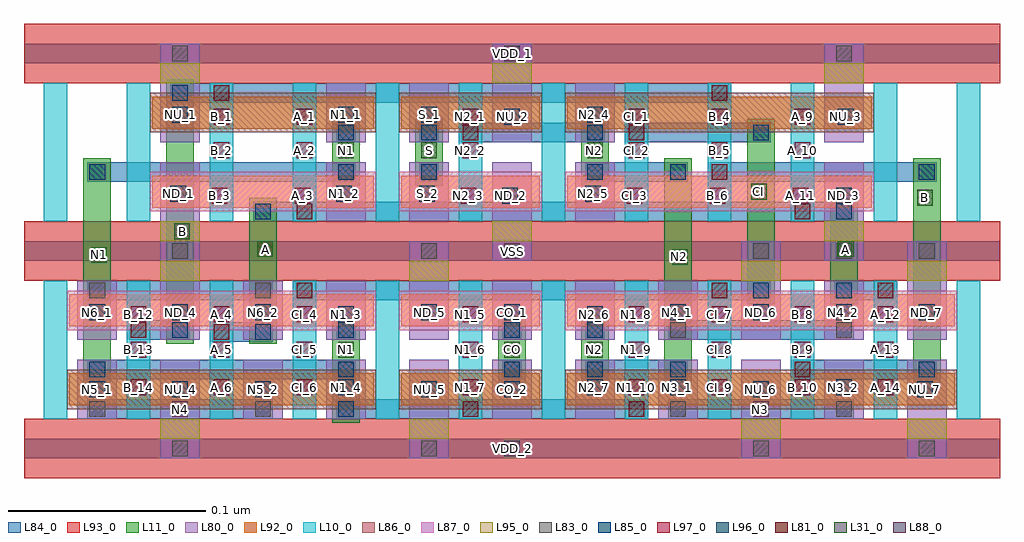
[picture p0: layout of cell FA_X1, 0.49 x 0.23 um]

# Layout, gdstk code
import gdstk
lib = gdstk.Library(unit=1e-6, precision=1e-09)
def R(c, l, rs):  # rectangles x0, y0, x1, y1
    for r in rs: c.add(gdstk.rectangle(r[:2], r[2:], *l))
def A(c, l, x, y, w, h, nx, ny, dx, dy):  # array of equal rectangles
    R(c, l, [(x+i*dx, y+j*dy, x+i*dx+w, y+j*dy+h) for i in range(nx) for j in range(ny)])
L10_0 = (10, 0)
L11_0 = (11, 0)
L31_0 = (31, 0)
L80_0 = (80, 0)
L81_0 = (81, 0)
L83_0 = (83, 0)
L84_0 = (84, 0)
L85_0 = (85, 0)
L86_0 = (86, 0)
L87_0 = (87, 0)
L88_0 = (88, 0)
L92_0 = (92, 0)
L93_0 = (93, 0)
L95_0 = (95, 0)
L96_0 = (96, 0)
L97_0 = (97, 0)

fa_x1 = lib.new_cell('FA_X1')
A(fa_x1, L10_0, -0.027, -0.085, 0.012, 0.07, 5, 1, 0.042, 0)
A(fa_x1, L10_0, 0.141, -0.085, 0.012, 0.07, 8, 1, 0.042, 0)
A(fa_x1, L10_0, -0.027, 0.015, 0.012, 0.07, 12, 1, 0.042, 0)
R(fa_x1, L11_0, [(0.119,-0.087,0.133,-0.053), (0.119,-0.087,0.133,-0.053), (-0.007,-0.067,0.007,-0.033), (-0.007,-0.067,0.007,-0.033), (0.119,-0.067,0.133,-0.033), (0.119,-0.067,0.133,-0.033), (0.203,-0.067,0.217,-0.033), (0.203,-0.067,0.217,-0.033), (0.245,-0.067,0.259,-0.033), (0.245,-0.067,0.259,-0.033), (0.287,-0.067,0.301,-0.033), (0.287,-0.067,0.301,-0.033), (0.413,-0.067,0.427,-0.033), (0.413,-0.067,0.427,-0.033), (-0.007,-0.047,0.007,-0.013), (-0.007,-0.047,0.007,-0.013), (0.035,-0.047,0.049,-0.013), (0.035,-0.047,0.049,-0.013), (0.077,-0.047,0.091,-0.013), (0.287,-0.047,0.301,-0.013), (0.287,-0.047,0.301,-0.013), (0.413,-0.047,0.427,-0.013), (0.413,-0.047,0.427,-0.013), (-0.007,-0.027,0.007,0.007), (-0.007,-0.027,0.007,0.007), (0.035,-0.027,0.049,0.007), (0.035,-0.027,0.049,0.007), (0.077,-0.027,0.091,0.007), (0.077,-0.027,0.091,0.007), (0.287,-0.027,0.301,0.007), (0.287,-0.027,0.301,0.007), (0.329,-0.027,0.343,0.007), (0.329,-0.027,0.343,0.007), (0.371,-0.027,0.385,0.007), (0.371,-0.027,0.385,0.007), (0.413,-0.027,0.427,0.007), (0.413,-0.027,0.427,0.007), (-0.007,-0.007,0.007,0.027), (-0.007,-0.007,0.007,0.027), (0.035,-0.007,0.049,0.027), (0.035,-0.007,0.049,0.027), (0.077,-0.007,0.091,0.027), (0.077,-0.007,0.091,0.027), (0.287,-0.007,0.301,0.027), (0.287,-0.007,0.301,0.027), (0.329,-0.007,0.343,0.027), (0.329,-0.007,0.343,0.027), (0.371,-0.007,0.385,0.027), (0.371,-0.007,0.385,0.027), (0.413,-0.007,0.427,0.027), (0.413,-0.007,0.427,0.027), (-0.007,0.013,0.007,0.047), (-0.007,0.013,0.007,0.047), (0.035,0.013,0.049,0.047), (0.035,0.013,0.049,0.047), (0.287,0.013,0.301,0.047), (0.287,0.013,0.301,0.047), (0.329,0.013,0.343,0.047), (0.329,0.013,0.343,0.047), (0.413,0.013,0.427,0.047), (0.413,0.013,0.427,0.047), (0.035,0.033,0.049,0.067), (0.035,0.033,0.049,0.067), (0.119,0.033,0.133,0.067), (0.119,0.033,0.133,0.067), (0.161,0.033,0.175,0.067), (0.161,0.033,0.175,0.067), (0.245,0.033,0.259,0.067), (0.245,0.033,0.259,0.067), (0.329,0.033,0.343,0.067), (0.329,0.033,0.343,0.067), (0.035,0.053,0.049,0.087), (0.035,0.053,0.049,0.087)])
R(fa_x1, L31_0, [(0.122,-0.054,0.13,-0.046), (0.206,-0.054,0.214,-0.046), (0.248,-0.054,0.256,-0.046), (0.291,-0.007,0.299,0.001), (-0.003,-0.006,0.005,0.002), (0.081,-0.003,0.089,0.005), (0.375,-0.003,0.383,0.005), (0.039,0.006,0.047,0.014), (0.415,0.023,0.423,0.031), (0.331,0.026,0.339,0.034), (0.122,0.047,0.13,0.055), (0.164,0.047,0.172,0.055), (0.248,0.047,0.256,0.055)])
A(fa_x1, L80_0, -0.01, -0.085, 0.02, 0.03, 11, 2, 0.042, 0.04)
A(fa_x1, L80_0, 0.032, -0.025, 0.02, 0.03, 1, 3, 0, 0.04)
A(fa_x1, L80_0, 0.032, -0.005, 0.02, 0.03, 3, 2, 0.168, 0.08)
A(fa_x1, L80_0, 0.116, 0.015, 0.02, 0.03, 4, 2, 0.042, 0.04)
R(fa_x1, L80_0, [(0.032,-0.105,0.052,-0.075), (0.158,-0.105,0.178,-0.075), (0.326,-0.105,0.346,-0.075), (0.41,-0.105,0.43,-0.075), (0.158,-0.025,0.178,0.005), (0.326,-0.025,0.346,0.005), (0.41,-0.025,0.43,0.005), (0.368,0.015,0.388,0.045), (0.368,0.055,0.388,0.085)])
R(fa_x1, L81_0, [(0.185,-0.084,0.193,-0.076), (0.185,-0.084,0.193,-0.076), (0.269,-0.084,0.277,-0.076), (0.269,-0.084,0.277,-0.076), (0.353,-0.064,0.361,-0.056), (0.059,-0.045,0.067,-0.037), (0.017,-0.044,0.025,-0.036), (0.017,-0.044,0.025,-0.036), (0.101,-0.024,0.109,-0.016), (0.101,-0.024,0.109,-0.016), (0.311,-0.024,0.319,-0.016), (0.395,-0.024,0.403,-0.016), (0.395,-0.024,0.403,-0.016), (0.101,0.016,0.109,0.024), (0.101,0.016,0.109,0.024), (0.353,0.016,0.361,0.024), (0.353,0.016,0.361,0.024), (0.311,0.036,0.319,0.044), (0.311,0.036,0.319,0.044), (0.185,0.056,0.193,0.064), (0.185,0.056,0.193,0.064), (0.269,0.056,0.277,0.064), (0.269,0.056,0.277,0.064), (0.059,0.076,0.067,0.084), (0.059,0.076,0.067,0.084), (0.059,0.076,0.067,0.084), (0.059,0.076,0.067,0.084), (0.311,0.076,0.319,0.084), (0.311,0.076,0.319,0.084)])
A(fa_x1, L83_0, 0.038, 0.096, 0.008, 0.008, 3, 1, 0.168, 0)
R(fa_x1, L83_0, [(0.038,-0.104,0.046,-0.096), (0.164,-0.104,0.172,-0.096), (0.332,-0.104,0.34,-0.096), (0.416,-0.104,0.424,-0.096), (-0.004,-0.084,0.004,-0.076), (-0.004,-0.084,0.004,-0.076), (0.08,-0.084,0.088,-0.076), (0.08,-0.084,0.088,-0.076), (0.122,-0.084,0.13,-0.076), (0.122,-0.084,0.13,-0.076), (0.29,-0.084,0.298,-0.076), (0.29,-0.084,0.298,-0.076), (0.374,-0.084,0.382,-0.076), (0.374,-0.084,0.382,-0.076), (0.122,-0.064,0.13,-0.056), (0.122,-0.064,0.13,-0.056), (0.206,-0.064,0.214,-0.056), (0.206,-0.064,0.214,-0.056), (0.248,-0.064,0.256,-0.056), (0.248,-0.064,0.256,-0.056), (0.122,-0.044,0.13,-0.036), (0.122,-0.044,0.13,-0.036), (0.206,-0.044,0.214,-0.036), (0.206,-0.044,0.214,-0.036), (0.248,-0.044,0.256,-0.036), (0.248,-0.044,0.256,-0.036), (0.29,-0.044,0.298,-0.036), (0.29,-0.044,0.298,-0.036), (0.374,-0.044,0.382,-0.036), (0.374,-0.044,0.382,-0.036), (-0.004,-0.024,0.004,-0.016), (-0.004,-0.024,0.004,-0.016), (0.08,-0.024,0.088,-0.016), (0.08,-0.024,0.088,-0.016), (0.038,-0.004,0.046,0.004), (0.038,-0.004,0.046,0.004), (0.038,-0.004,0.046,0.004), (0.038,-0.004,0.046,0.004), (0.164,-0.004,0.172,0.004), (0.206,-0.004,0.214,0.004), (0.332,-0.004,0.34,0.004), (0.332,-0.004,0.34,0.004), (0.374,-0.004,0.382,0.004), (0.374,-0.004,0.382,0.004), (0.416,-0.004,0.424,0.004), (0.416,-0.004,0.424,0.004), (0.122,0.036,0.13,0.044), (0.122,0.036,0.13,0.044), (0.164,0.036,0.172,0.044), (0.164,0.036,0.172,0.044), (0.248,0.036,0.256,0.044), (0.248,0.036,0.256,0.044), (0.122,0.056,0.13,0.064), (0.122,0.056,0.13,0.064), (0.164,0.056,0.172,0.064), (0.164,0.056,0.172,0.064), (0.248,0.056,0.256,0.064), (0.248,0.056,0.256,0.064)])
A(fa_x1, L84_0, -0.037, -0.105, 0.494, 0.01, 1, 3, 0, 0.1)
A(fa_x1, L84_0, 0.352, -0.085, 0.031, 0.01, 1, 3, 0, 0.02)
R(fa_x1, L84_0, [(-0.005,-0.085,0.026,-0.075), (-0.005,-0.085,0.026,-0.075), (0.016,-0.085,0.047,-0.075), (0.016,-0.085,0.047,-0.075), (0.037,-0.085,0.068,-0.075), (0.037,-0.085,0.068,-0.075), (0.058,-0.085,0.089,-0.075), (0.058,-0.085,0.089,-0.075), (0.121,-0.085,0.152,-0.075), (0.121,-0.085,0.152,-0.075), (0.142,-0.085,0.173,-0.075), (0.142,-0.085,0.173,-0.075), (0.163,-0.085,0.194,-0.075), (0.163,-0.085,0.194,-0.075), (0.184,-0.085,0.215,-0.075), (0.184,-0.085,0.215,-0.075), (0.205,-0.085,0.236,-0.075), (0.205,-0.085,0.236,-0.075), (0.226,-0.085,0.257,-0.075), (0.226,-0.085,0.257,-0.075), (0.247,-0.085,0.278,-0.075), (0.247,-0.085,0.278,-0.075), (0.289,-0.085,0.32,-0.075), (0.289,-0.085,0.32,-0.075), (0.31,-0.085,0.341,-0.075), (0.31,-0.085,0.341,-0.075), (0.331,-0.085,0.362,-0.075), (0.331,-0.085,0.362,-0.075), (0.352,-0.085,0.383,-0.075), (-0.005,-0.065,0.026,-0.055), (-0.005,-0.065,0.026,-0.055), (0.016,-0.065,0.047,-0.055), (0.016,-0.065,0.047,-0.055), (0.037,-0.065,0.068,-0.055), (0.037,-0.065,0.068,-0.055), (0.058,-0.065,0.089,-0.055), (0.058,-0.065,0.089,-0.055), (0.079,-0.065,0.11,-0.055), (0.079,-0.065,0.11,-0.055), (0.1,-0.065,0.131,-0.055), (0.1,-0.065,0.131,-0.055), (0.205,-0.065,0.215,-0.055), (0.205,-0.065,0.215,-0.055), (0.247,-0.065,0.278,-0.055), (0.247,-0.065,0.278,-0.055), (0.268,-0.065,0.299,-0.055), (0.268,-0.065,0.299,-0.055), (0.373,-0.065,0.404,-0.055), (0.373,-0.065,0.404,-0.055), (0.394,-0.065,0.425,-0.055), (0.394,-0.065,0.425,-0.055), (0.058,-0.046,0.089,-0.036), (0.016,-0.045,0.047,-0.035), (0.016,-0.045,0.047,-0.035), (0.121,-0.045,0.131,-0.035), (0.121,-0.045,0.131,-0.035), (0.205,-0.045,0.215,-0.035), (0.205,-0.045,0.215,-0.035), (0.247,-0.045,0.257,-0.035), (0.247,-0.045,0.257,-0.035), (0.289,-0.045,0.32,-0.035), (0.289,-0.045,0.32,-0.035), (0.31,-0.045,0.341,-0.035), (0.31,-0.045,0.341,-0.035), (0.331,-0.045,0.362,-0.035), (0.331,-0.045,0.362,-0.035), (-0.005,-0.025,0.026,-0.015), (-0.005,-0.025,0.026,-0.015), (0.016,-0.025,0.047,-0.015), (0.016,-0.025,0.047,-0.015), (0.037,-0.025,0.068,-0.015), (0.037,-0.025,0.068,-0.015), (0.058,-0.025,0.089,-0.015), (0.058,-0.025,0.089,-0.015), (0.1,-0.025,0.131,-0.015), (0.1,-0.025,0.131,-0.015), (0.121,-0.025,0.152,-0.015), (0.121,-0.025,0.152,-0.015), (0.142,-0.025,0.173,-0.015), (0.142,-0.025,0.173,-0.015), (0.163,-0.025,0.194,-0.015), (0.163,-0.025,0.194,-0.015), (0.184,-0.025,0.215,-0.015), (0.184,-0.025,0.215,-0.015), (0.205,-0.025,0.236,-0.015), (0.205,-0.025,0.236,-0.015), (0.226,-0.025,0.257,-0.015), (0.226,-0.025,0.257,-0.015), (0.247,-0.025,0.278,-0.015), (0.247,-0.025,0.278,-0.015), (0.268,-0.025,0.299,-0.015), (0.268,-0.025,0.299,-0.015), (0.289,-0.025,0.32,-0.015), (0.289,-0.025,0.32,-0.015), (0.31,-0.025,0.341,-0.015), (0.31,-0.025,0.341,-0.015), (0.373,-0.025,0.404,-0.015), (0.373,-0.025,0.404,-0.015), (0.079,0.015,0.11,0.025), (0.079,0.015,0.11,0.025), (0.1,0.015,0.131,0.025), (0.1,0.015,0.131,0.025), (0.121,0.015,0.152,0.025), (0.121,0.015,0.152,0.025), (0.142,0.015,0.173,0.025), (0.142,0.015,0.173,0.025), (0.163,0.015,0.194,0.025), (0.163,0.015,0.194,0.025), (0.184,0.015,0.215,0.025), (0.184,0.015,0.215,0.025), (0.205,0.015,0.236,0.025), (0.205,0.015,0.236,0.025), (0.226,0.015,0.257,0.025), (0.226,0.015,0.257,0.025), (0.247,0.015,0.278,0.025), (0.247,0.015,0.278,0.025), (0.268,0.015,0.299,0.025), (0.268,0.015,0.299,0.025), (0.289,0.015,0.32,0.025), (0.289,0.015,0.32,0.025), (0.31,0.015,0.341,0.025), (0.31,0.015,0.341,0.025), (0.331,0.015,0.362,0.025), (0.331,0.015,0.362,0.025), (0.352,0.015,0.383,0.025), (0.352,0.015,0.383,0.025), (-0.005,0.035,0.026,0.045), (-0.005,0.035,0.026,0.045), (0.016,0.035,0.047,0.045), (0.016,0.035,0.047,0.045), (0.037,0.035,0.068,0.045), (0.037,0.035,0.068,0.045), (0.058,0.035,0.089,0.045), (0.058,0.035,0.089,0.045), (0.079,0.035,0.11,0.045), (0.079,0.035,0.11,0.045), (0.1,0.035,0.131,0.045), (0.1,0.035,0.131,0.045), (0.163,0.035,0.173,0.045), (0.163,0.035,0.173,0.045), (0.247,0.035,0.278,0.045), (0.247,0.035,0.278,0.045), (0.268,0.035,0.299,0.045), (0.268,0.035,0.299,0.045), (0.31,0.035,0.341,0.045), (0.31,0.035,0.341,0.045), (0.331,0.035,0.362,0.045), (0.331,0.035,0.362,0.045), (0.352,0.035,0.383,0.045), (0.352,0.035,0.383,0.045), (0.373,0.035,0.404,0.045), (0.373,0.035,0.404,0.045), (0.394,0.035,0.425,0.045), (0.394,0.035,0.425,0.045), (0.121,0.055,0.131,0.065), (0.121,0.055,0.131,0.065), (0.163,0.055,0.173,0.065), (0.163,0.055,0.173,0.065), (0.184,0.055,0.215,0.065), (0.184,0.055,0.215,0.065), (0.205,0.055,0.236,0.065), (0.205,0.055,0.236,0.065), (0.226,0.055,0.257,0.065), (0.226,0.055,0.257,0.065), (0.268,0.055,0.299,0.065), (0.268,0.055,0.299,0.065), (0.289,0.055,0.32,0.065), (0.289,0.055,0.32,0.065), (0.31,0.055,0.341,0.065), (0.31,0.055,0.341,0.065), (0.037,0.075,0.068,0.085), (0.037,0.075,0.068,0.085), (0.058,0.075,0.089,0.085), (0.058,0.075,0.089,0.085), (0.079,0.075,0.11,0.085), (0.079,0.075,0.11,0.085), (0.1,0.075,0.131,0.085), (0.1,0.075,0.131,0.085), (0.121,0.075,0.152,0.085), (0.121,0.075,0.152,0.085), (0.142,0.075,0.173,0.085), (0.142,0.075,0.173,0.085), (0.163,0.075,0.194,0.085), (0.163,0.075,0.194,0.085), (0.184,0.075,0.215,0.085), (0.184,0.075,0.215,0.085), (0.205,0.075,0.236,0.085), (0.205,0.075,0.236,0.085), (0.226,0.075,0.257,0.085), (0.226,0.075,0.257,0.085), (0.247,0.075,0.278,0.085), (0.247,0.075,0.278,0.085), (0.268,0.075,0.299,0.085), (0.268,0.075,0.299,0.085), (0.289,0.075,0.32,0.085), (0.289,0.075,0.32,0.085)])
R(fa_x1, L85_0, [(0.122,-0.084,0.13,-0.076), (0.122,-0.084,0.13,-0.076), (-0.004,-0.064,0.004,-0.056), (-0.004,-0.064,0.004,-0.056), (0.122,-0.064,0.13,-0.056), (0.122,-0.064,0.13,-0.056), (0.206,-0.064,0.214,-0.056), (0.206,-0.064,0.214,-0.056), (0.248,-0.064,0.256,-0.056), (0.248,-0.064,0.256,-0.056), (0.29,-0.064,0.298,-0.056), (0.29,-0.064,0.298,-0.056), (0.416,-0.064,0.424,-0.056), (0.416,-0.064,0.424,-0.056), (0.08,-0.045,0.088,-0.037), (0.038,-0.044,0.046,-0.036), (0.038,-0.044,0.046,-0.036), (0.122,-0.044,0.13,-0.036), (0.122,-0.044,0.13,-0.036), (0.206,-0.044,0.214,-0.036), (0.206,-0.044,0.214,-0.036), (0.248,-0.044,0.256,-0.036), (0.248,-0.044,0.256,-0.036), (0.332,-0.024,0.34,-0.016), (0.332,-0.024,0.34,-0.016), (0.374,-0.024,0.382,-0.016), (0.08,0.016,0.088,0.024), (0.08,0.016,0.088,0.024), (0.374,0.016,0.382,0.024), (0.374,0.016,0.382,0.024), (-0.004,0.036,0.004,0.044), (-0.004,0.036,0.004,0.044), (0.122,0.036,0.13,0.044), (0.122,0.036,0.13,0.044), (0.164,0.036,0.172,0.044), (0.164,0.036,0.172,0.044), (0.248,0.036,0.256,0.044), (0.248,0.036,0.256,0.044), (0.29,0.036,0.298,0.044), (0.29,0.036,0.298,0.044), (0.416,0.036,0.424,0.044), (0.416,0.036,0.424,0.044), (0.122,0.056,0.13,0.064), (0.122,0.056,0.13,0.064), (0.164,0.056,0.172,0.064), (0.164,0.056,0.172,0.064), (0.248,0.056,0.256,0.064), (0.248,0.056,0.256,0.064), (0.332,0.056,0.34,0.064), (0.332,0.056,0.34,0.064), (0.038,0.076,0.046,0.084), (0.038,0.076,0.046,0.084)])
R(fa_x1, L86_0, [(-0.015,-0.08,0.141,-0.06), (0.153,-0.08,0.225,-0.06), (0.237,-0.08,0.435,-0.06), (0.027,0.06,0.141,0.08), (0.153,0.06,0.225,0.08), (0.237,0.06,0.393,0.08)])
R(fa_x1, L87_0, [(-0.015,-0.04,0.141,-0.02), (0.153,-0.04,0.225,-0.02), (0.237,-0.04,0.435,-0.02), (0.027,0.02,0.141,0.04), (0.153,0.02,0.225,0.04), (0.237,0.02,0.393,0.04)])
A(fa_x1, L88_0, 0.206, -0.104, 0.008, 0.008, 1, 3, 0, 0.1)
R(fa_x1, L88_0, [(0.038,-0.084,0.046,-0.076), (0.332,-0.084,0.34,-0.076)])
R(fa_x1, L92_0, [(-0.014,-0.078,0.14,-0.062), (0.154,-0.078,0.224,-0.062), (0.238,-0.078,0.434,-0.062), (-0.014,-0.038,0.14,-0.022), (0.154,-0.038,0.224,-0.022), (0.238,-0.038,0.434,-0.022), (0.028,0.022,0.14,0.038), (0.154,0.022,0.224,0.038), (0.238,0.022,0.392,0.038), (0.028,0.062,0.14,0.078), (0.154,0.062,0.224,0.078), (0.238,0.062,0.392,0.078)])
A(fa_x1, L93_0, -0.037, -0.115, 0.494, 0.03, 1, 3, 0, 0.1)
R(fa_x1, L95_0, [(0.032,-0.095,0.052,-0.085), (0.032,-0.095,0.052,-0.085), (0.158,-0.095,0.178,-0.085), (0.158,-0.095,0.178,-0.085), (0.326,-0.095,0.346,-0.085), (0.326,-0.095,0.346,-0.085), (0.41,-0.095,0.43,-0.085), (0.41,-0.095,0.43,-0.085), (0.032,-0.015,0.052,-0.005), (0.032,-0.015,0.052,-0.005), (0.158,-0.015,0.178,-0.005), (0.158,-0.015,0.178,-0.005), (0.326,-0.015,0.346,-0.005), (0.326,-0.015,0.346,-0.005), (0.41,-0.015,0.43,-0.005), (0.41,-0.015,0.43,-0.005), (0.032,0.005,0.052,0.015), (0.032,0.005,0.052,0.015), (0.2,0.005,0.22,0.015), (0.2,0.005,0.22,0.015), (0.368,0.005,0.388,0.015), (0.368,0.005,0.388,0.015), (0.032,0.085,0.052,0.095), (0.032,0.085,0.052,0.095), (0.2,0.085,0.22,0.095), (0.2,0.085,0.22,0.095), (0.368,0.085,0.388,0.095), (0.368,0.085,0.388,0.095)])
A(fa_x1, L96_0, -0.004, -0.074, 0.008, 0.008, 3, 2, 0.042, 0.039)
A(fa_x1, L96_0, 0.29, -0.035, 0.008, 0.008, 4, 1, 0.042, 0)
R(fa_x1, L96_0, [(0.164,-0.074,0.172,-0.066), (0.206,-0.074,0.214,-0.066), (0.332,-0.074,0.34,-0.066), (0.415,-0.074,0.423,-0.066), (0.122,-0.073,0.13,-0.065), (0.248,-0.073,0.256,-0.065), (0.29,-0.073,0.298,-0.065), (0.374,-0.073,0.382,-0.065), (0.122,-0.036,0.13,-0.028), (0.248,-0.036,0.256,-0.028), (0.164,-0.035,0.172,-0.027), (0.206,-0.035,0.214,-0.027), (0.205,0.024,0.213,0.032), (0.374,0.024,0.382,0.032), (0.037,0.025,0.045,0.033), (0.121,0.025,0.129,0.033), (0.163,0.025,0.171,0.033), (0.247,0.025,0.255,0.033), (0.206,0.064,0.214,0.072), (0.375,0.064,0.383,0.072), (0.038,0.065,0.046,0.073), (0.122,0.065,0.13,0.073), (0.164,0.065,0.172,0.073), (0.248,0.065,0.256,0.073)])
A(fa_x1, L97_0, 0.017, -0.073, 0.008, 0.008, 3, 2, 0.042, 0.019)
A(fa_x1, L97_0, 0.269, -0.073, 0.008, 0.008, 4, 2, 0.042, 0.019)
A(fa_x1, L97_0, 0.017, -0.036, 0.008, 0.008, 3, 1, 0.042, 0)
A(fa_x1, L97_0, 0.269, -0.036, 0.008, 0.008, 4, 1, 0.042, 0)
A(fa_x1, L97_0, 0.1, 0.024, 0.008, 0.008, 3, 1, 0.084, 0)
A(fa_x1, L97_0, 0.101, 0.047, 0.008, 0.008, 3, 2, 0.084, 0.017)
R(fa_x1, L97_0, [(0.185,-0.073,0.193,-0.065), (0.185,-0.054,0.193,-0.046), (0.185,-0.036,0.193,-0.028), (0.058,0.024,0.066,0.032), (0.31,0.024,0.318,0.032), (0.352,0.024,0.36,0.032), (0.059,0.047,0.067,0.055), (0.311,0.047,0.319,0.055), (0.353,0.047,0.361,0.055), (0.059,0.064,0.067,0.072), (0.311,0.064,0.319,0.072), (0.353,0.064,0.361,0.072)])
fa_x1.add(gdstk.Label('N3_2', (0.378,-0.069), layer=96, texttype=0))
fa_x1.add(gdstk.Label('ND_5', (0.168,-0.031), layer=96, texttype=0))
fa_x1.add(gdstk.Label('ND_2', (0.209,0.028), layer=96, texttype=0))
fa_x1.add(gdstk.Label('N5_1', (0,-0.07), layer=96, texttype=0))
fa_x1.add(gdstk.Label('N1_1', (0.126,0.069), layer=96, texttype=0))
fa_x1.add(gdstk.Label('S_1', (0.168,0.069), layer=96, texttype=0))
fa_x1.add(gdstk.Label('N4_2', (0.378,-0.031), layer=96, texttype=0))
fa_x1.add(gdstk.Label('NU_5', (0.168,-0.07), layer=96, texttype=0))
fa_x1.add(gdstk.Label('N2_4', (0.252,0.069), layer=96, texttype=0))
fa_x1.add(gdstk.Label('N6_2', (0.084,-0.031), layer=96, texttype=0))
fa_x1.add(gdstk.Label('NU_7', (0.419,-0.07), layer=96, texttype=0))
fa_x1.add(gdstk.Label('NU_2', (0.21,0.068), layer=96, texttype=0))
fa_x1.add(gdstk.Label('N1_2', (0.125,0.029), layer=96, texttype=0))
fa_x1.add(gdstk.Label('NU_1', (0.042,0.069), layer=96, texttype=0))
fa_x1.add(gdstk.Label('N2_6', (0.252,-0.032), layer=96, texttype=0))
fa_x1.add(gdstk.Label('N1_3', (0.126,-0.032), layer=96, texttype=0))
fa_x1.add(gdstk.Label('ND_7', (0.42,-0.031), layer=96, texttype=0))
fa_x1.add(gdstk.Label('ND_4', (0.042,-0.031), layer=96, texttype=0))
fa_x1.add(gdstk.Label('ND_3', (0.378,0.028), layer=96, texttype=0))
fa_x1.add(gdstk.Label('NU_3', (0.379,0.068), layer=96, texttype=0))
fa_x1.add(gdstk.Label('ND_1', (0.041,0.029), layer=96, texttype=0))
fa_x1.add(gdstk.Label('N2_7', (0.252,-0.069), layer=96, texttype=0))
fa_x1.add(gdstk.Label('N1_4', (0.126,-0.069), layer=96, texttype=0))
fa_x1.add(gdstk.Label('NU_4', (0.042,-0.07), layer=96, texttype=0))
fa_x1.add(gdstk.Label('N2_5', (0.251,0.029), layer=96, texttype=0))
fa_x1.add(gdstk.Label('N6_1', (0,-0.031), layer=96, texttype=0))
fa_x1.add(gdstk.Label('NU_6', (0.336,-0.07), layer=96, texttype=0))
fa_x1.add(gdstk.Label('S_2', (0.167,0.029), layer=96, texttype=0))
fa_x1.add(gdstk.Label('N4_1', (0.294,-0.031), layer=96, texttype=0))
fa_x1.add(gdstk.Label('N5_2', (0.084,-0.07), layer=96, texttype=0))
fa_x1.add(gdstk.Label('ND_6', (0.336,-0.031), layer=96, texttype=0))
fa_x1.add(gdstk.Label('N3_1', (0.294,-0.069), layer=96, texttype=0))
fa_x1.add(gdstk.Label('CO_1', (0.21,-0.031), layer=96, texttype=0))
fa_x1.add(gdstk.Label('CO_2', (0.21,-0.07), layer=96, texttype=0))
fa_x1.add(gdstk.Label('N2', (0.252,0.051), layer=31, texttype=0))
fa_x1.add(gdstk.Label('B', (0.419,0.027), layer=31, texttype=0))
fa_x1.add(gdstk.Label('CI', (0.335,0.03), layer=31, texttype=0))
fa_x1.add(gdstk.Label('A', (0.379,0.001), layer=31, texttype=0))
fa_x1.add(gdstk.Label('N1', (0.001,-0.002), layer=31, texttype=0))
fa_x1.add(gdstk.Label('S', (0.168,0.051), layer=31, texttype=0))
fa_x1.add(gdstk.Label('N1', (0.126,0.051), layer=31, texttype=0))
fa_x1.add(gdstk.Label('CO', (0.21,-0.05), layer=31, texttype=0))
fa_x1.add(gdstk.Label('N1', (0.126,-0.05), layer=31, texttype=0))
fa_x1.add(gdstk.Label('N2', (0.252,-0.05), layer=31, texttype=0))
fa_x1.add(gdstk.Label('A', (0.085,0.001), layer=31, texttype=0))
fa_x1.add(gdstk.Label('N2', (0.295,-0.003), layer=31, texttype=0))
fa_x1.add(gdstk.Label('B', (0.043,0.01), layer=31, texttype=0))
fa_x1.add(gdstk.Label('CI_3', (0.272,0.028), layer=97, texttype=0))
fa_x1.add(gdstk.Label('B_3', (0.062,0.028), layer=97, texttype=0))
fa_x1.add(gdstk.Label('CI_7', (0.315,-0.032), layer=97, texttype=0))
fa_x1.add(gdstk.Label('N1_9', (0.273,-0.05), layer=97, texttype=0))
fa_x1.add(gdstk.Label('N1_10', (0.273,-0.069), layer=97, texttype=0))
fa_x1.add(gdstk.Label('N1_5', (0.189,-0.032), layer=97, texttype=0))
fa_x1.add(gdstk.Label('N1_6', (0.189,-0.05), layer=97, texttype=0))
fa_x1.add(gdstk.Label('N1_7', (0.189,-0.069), layer=97, texttype=0))
fa_x1.add(gdstk.Label('A_12', (0.399,-0.032), layer=97, texttype=0))
fa_x1.add(gdstk.Label('A_13', (0.399,-0.05), layer=97, texttype=0))
fa_x1.add(gdstk.Label('A_14', (0.399,-0.069), layer=97, texttype=0))
fa_x1.add(gdstk.Label('A_9', (0.357,0.068), layer=97, texttype=0))
fa_x1.add(gdstk.Label('A_10', (0.357,0.051), layer=97, texttype=0))
fa_x1.add(gdstk.Label('A_11', (0.356,0.028), layer=97, texttype=0))
fa_x1.add(gdstk.Label('B_14', (0.021,-0.069), layer=97, texttype=0))
fa_x1.add(gdstk.Label('B_13', (0.021,-0.05), layer=97, texttype=0))
fa_x1.add(gdstk.Label('B_12', (0.021,-0.032), layer=97, texttype=0))
fa_x1.add(gdstk.Label('A_4', (0.063,-0.032), layer=97, texttype=0))
fa_x1.add(gdstk.Label('A_5', (0.063,-0.05), layer=97, texttype=0))
fa_x1.add(gdstk.Label('A_6', (0.063,-0.069), layer=97, texttype=0))
fa_x1.add(gdstk.Label('B_8', (0.357,-0.032), layer=97, texttype=0))
fa_x1.add(gdstk.Label('B_9', (0.357,-0.05), layer=97, texttype=0))
fa_x1.add(gdstk.Label('B_10', (0.357,-0.069), layer=97, texttype=0))
fa_x1.add(gdstk.Label('B_4', (0.315,0.068), layer=97, texttype=0))
fa_x1.add(gdstk.Label('B_5', (0.315,0.051), layer=97, texttype=0))
fa_x1.add(gdstk.Label('B_6', (0.314,0.028), layer=97, texttype=0))
fa_x1.add(gdstk.Label('A_1', (0.105,0.068), layer=97, texttype=0))
fa_x1.add(gdstk.Label('A_2', (0.105,0.051), layer=97, texttype=0))
fa_x1.add(gdstk.Label('A_3', (0.104,0.028), layer=97, texttype=0))
fa_x1.add(gdstk.Label('B_1', (0.063,0.068), layer=97, texttype=0))
fa_x1.add(gdstk.Label('B_2', (0.063,0.051), layer=97, texttype=0))
fa_x1.add(gdstk.Label('CI_8', (0.315,-0.05), layer=97, texttype=0))
fa_x1.add(gdstk.Label('CI_9', (0.315,-0.069), layer=97, texttype=0))
fa_x1.add(gdstk.Label('CI_4', (0.105,-0.032), layer=97, texttype=0))
fa_x1.add(gdstk.Label('CI_5', (0.105,-0.05), layer=97, texttype=0))
fa_x1.add(gdstk.Label('CI_6', (0.105,-0.069), layer=97, texttype=0))
fa_x1.add(gdstk.Label('CI_1', (0.273,0.068), layer=97, texttype=0))
fa_x1.add(gdstk.Label('CI_2', (0.273,0.051), layer=97, texttype=0))
fa_x1.add(gdstk.Label('N2_1', (0.189,0.068), layer=97, texttype=0))
fa_x1.add(gdstk.Label('N2_2', (0.189,0.051), layer=97, texttype=0))
fa_x1.add(gdstk.Label('N2_3', (0.188,0.028), layer=97, texttype=0))
fa_x1.add(gdstk.Label('N1_8', (0.273,-0.032), layer=97, texttype=0))
fa_x1.add(gdstk.Label('VDD_1', (0.21,0.1), layer=88, texttype=0))
fa_x1.add(gdstk.Label('VSS', (0.21,0), layer=88, texttype=0))
fa_x1.add(gdstk.Label('N3', (0.336,-0.08), layer=88, texttype=0))
fa_x1.add(gdstk.Label('VDD_2', (0.21,-0.1), layer=88, texttype=0))
fa_x1.add(gdstk.Label('N4', (0.042,-0.08), layer=88, texttype=0))

lib.write_gds('FA_X1.gds')
